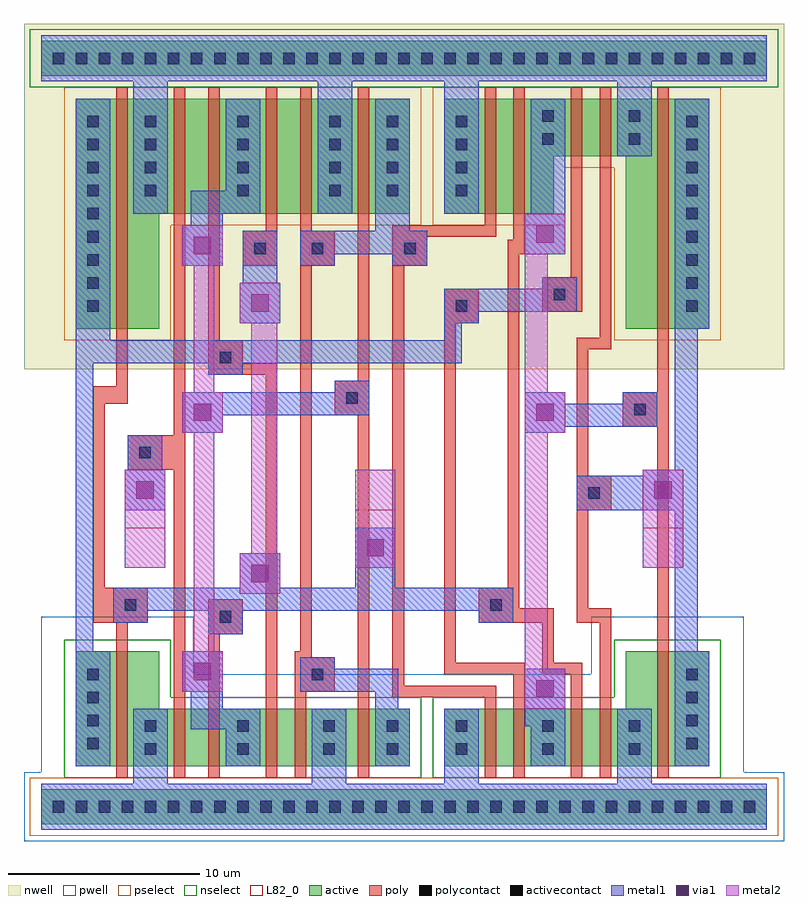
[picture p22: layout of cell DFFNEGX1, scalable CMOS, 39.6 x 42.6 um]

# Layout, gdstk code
import gdstk
lib = gdstk.Library(unit=1e-6, precision=1e-09)
def R(c, l, rs):  # rectangles x0, y0, x1, y1
    for r in rs: c.add(gdstk.rectangle(r[:2], r[2:], *l))
def A(c, l, x, y, w, h, nx, ny, dx, dy):  # array of equal rectangles
    R(c, l, [(x+i*dx, y+j*dy, x+i*dx+w, y+j*dy+h) for i in range(nx) for j in range(ny)])
pwell = (41, 0)
nwell = (42, 0)
active = (43, 0)
pselect = (44, 0)
nselect = (45, 0)
poly = (46, 0)
polycontact = (47, 0)
activecontact = (48, 0)
metal1 = (49, 0)
via1 = (50, 0)
metal2 = (51, 0)
L82_0 = (82, 0)

dffnegx1 = lib.new_cell('DFFNEGX1')
R(dffnegx1, pwell, [(-1.8,-1.8,37.8,1.8), (-0.9,1.8,35.7,6.9), (-0.9,6.9,7.05,9.9), (27.75,6.9,35.7,9.9)])
R(dffnegx1, nwell, [(-1.8,22.8,37.8,40.8)])
R(dffnegx1, active, [(-0.9,-0.9,36.9,0.9), (0.9,2.1,18.3,5.1), (20.1,2.1,33.9,5.1), (0.9,5.1,5.25,8.1), (29.55,5.1,33.9,8.1), (0.9,24.9,5.25,30.9), (29.55,24.9,33.9,33.9), (0.9,30.9,18.3,36.9), (20.1,30.9,25.8,33.9), (20.1,33.9,33.9,36.9), (-0.9,38.1,36.9,39.9)])
R(dffnegx1, pselect, [(-1.5,-1.5,37.5,1.5), (0.3,24.3,5.85,30.3), (28.95,24.3,34.5,33.3), (0.3,30.3,18.9,37.5), (19.5,30.3,26.4,33.3), (19.5,33.3,34.5,37.5)])
R(dffnegx1, nselect, [(0.3,1.5,18.9,5.7), (19.5,1.5,34.5,5.7), (0.3,5.7,5.85,8.7), (28.95,5.7,34.5,8.7), (-1.5,37.5,37.5,40.5)])
R(dffnegx1, poly, [(3,1.5,3.6,9.6), (6,1.5,6.6,17.55), (7.8,1.5,8.4,9), (10.8,1.5,11.4,22.5), (12.3,1.5,12.9,6), (15.6,1.5,16.2,20.4), (22.2,1.5,22.8,5.7), (23.7,1.5,24.3,6.9), (26.7,1.5,27.3,6.9), (28.2,1.5,28.8,9.6), (31.2,1.5,31.8,19.8), (17.4,5.7,22.8,6.3), (12.3,6,14.4,7.8), (17.4,6.3,18,28.2), (20.1,6.9,24.3,7.5), (25.2,6.9,27.3,7.5), (20.1,7.5,20.7,25.2), (25.2,7.5,25.8,9.6), (12.3,7.8,13.2,8.1), (12.6,8.1,13.2,28.2), (7.8,9,9.6,10.8), (1.8,9.6,4.65,11.4), (21.9,9.6,25.8,10.35), (27,9.6,28.8,10.35), (21.9,10.35,24,11.4), (27,10.35,27.6,15.45), (1.8,11.4,2.4,21), (23.4,11.4,24,28.8), (27,15.45,28.8,17.25), (27,17.25,27.6,23.85), (3.6,17.55,6.6,19.35), (6,19.35,6.6,37.5), (29.4,19.8,31.8,21.6), (14.4,20.4,16.2,22.2), (1.8,21,3.6,21.9), (31.2,21.6,31.8,37.5), (3,21.9,3.6,37.5), (15.6,22.2,16.2,37.5), (7.8,22.5,11.4,23.1), (7.8,23.1,9.6,24.3), (27,23.85,28.8,24.45), (7.8,24.3,8.4,37.5), (28.2,24.45,28.8,37.5), (20.1,25.2,21.9,27), (25.2,25.8,27.3,27.6), (26.7,27.6,27.3,37.5), (9.6,28.2,11.4,30), (12.6,28.2,14.4,30), (17.4,28.2,19.2,29.7), (23.4,28.8,24.3,29.55), (23.7,29.55,24.3,37.5), (17.4,29.7,22.8,30.3), (10.8,30,11.4,37.5), (12.6,30,13.2,37.5), (22.2,30.3,22.8,37.5)])
R(dffnegx1, polycontact, [(13.2,6.6,13.8,7.2), (8.4,9.6,9,10.2), (3.45,10.2,4.05,10.8), (22.5,10.2,23.1,10.8), (27.6,16.05,28.2,16.65), (4.2,18.15,4.8,18.75), (30,20.4,30.6,21), (15,21,15.6,21.6), (8.4,23.1,9,23.7), (20.7,25.8,21.3,26.4), (25.8,26.4,26.4,27), (10.2,28.8,10.8,29.4), (13.2,28.8,13.8,29.4), (18,28.8,18.6,29.4)])
A(dffnegx1, activecontact, -0.3, -0.3, 0.6, 0.6, 31, 2, 1.2, 39)
A(dffnegx1, activecontact, 20.7, 2.7, 0.6, 0.6, 3, 2, 4.5, 1.2)
A(dffnegx1, activecontact, 1.5, 3, 0.6, 0.6, 1, 4, 0, 1.2)
A(dffnegx1, activecontact, 32.7, 3, 0.6, 0.6, 1, 4, 0, 1.2)
A(dffnegx1, activecontact, 1.5, 25.8, 0.6, 0.6, 1, 9, 0, 1.2)
A(dffnegx1, activecontact, 32.7, 25.8, 0.6, 0.6, 1, 9, 0, 1.2)
A(dffnegx1, activecontact, 4.5, 31.8, 0.6, 0.6, 3, 4, 4.8, 1.2)
A(dffnegx1, activecontact, 17.1, 31.8, 0.6, 0.6, 1, 4, 0, 1.2)
A(dffnegx1, activecontact, 20.7, 31.8, 0.6, 0.6, 1, 4, 0, 1.2)
R(dffnegx1, activecontact, [(4.5,2.7,5.1,3.3), (9.3,2.7,9.9,3.3), (13.8,2.7,14.4,3.3), (17.1,2.7,17.7,3.3), (4.5,3.9,5.1,4.5), (9.3,3.9,9.9,4.5), (13.8,3.9,14.4,4.5), (17.1,3.9,17.7,4.5), (25.2,34.5,25.8,35.1), (29.7,34.5,30.3,35.1), (25.2,35.7,25.8,36.3), (29.7,35.7,30.3,36.3)])
R(dffnegx1, metal1, [(-0.9,-1.2,36.9,1.2), (3.9,1.2,5.7,5.1), (13.2,1.2,15,5.1), (20.1,1.2,21.9,5.1), (29.1,1.2,30.9,5.1), (0.9,2.1,2.7,8.1), (8.7,2.1,10.5,4.05), (16.5,2.1,18.3,5.1), (24.6,2.1,26.4,4.2), (32.1,2.1,33.9,8.1), (6.9,4.05,10.5,5.1), (24.3,4.2,26.4,7.2), (6.9,5.1,8.55,6), (16.5,5.1,17.7,6), (6.45,6,8.55,8.1), (12.6,6,17.7,7.2), (12.6,7.2,14.4,7.8), (0.9,8.1,1.8,23.1), (32.1,8.1,33.3,15.45), (7.8,9,9.6,10.2), (2.85,9.6,4.65,10.2), (21.9,9.6,23.7,10.2), (2.85,10.2,23.7,11.4), (9.45,11.4,11.55,13.2), (15.45,11.4,17.55,14.55), (3.45,15.45,5.55,17.55), (27,15.45,33.3,17.25), (30.45,17.25,33.3,17.55), (3.6,17.55,5.4,19.35), (32.1,17.55,33.3,24.9), (6.45,19.5,8.55,20.4), (24.3,19.5,26.4,19.8), (24.3,19.8,31.2,21), (6.45,20.4,16.2,21.6), (24.3,21,26.4,21.6), (29.4,21,31.2,21.6), (14.4,21.6,16.2,22.2), (7.8,22.5,9.6,23.1), (0.9,23.1,21,24.3), (0.9,24.3,2.7,36.9), (20.1,24.3,21,25.2), (32.1,24.9,33.9,36.9), (9.45,25.2,11.55,27.3), (20.1,25.2,21.9,25.8), (20.1,25.8,27,27), (25.2,27,27,27.6), (9.6,27.3,11.4,30), (6.45,28.2,8.55,30.3), (12.6,28.2,14.4,28.8), (17.4,28.2,19.2,28.8), (12.6,28.8,19.2,30), (24.3,28.8,26.4,30.9), (16.5,30,18.3,36.9), (6.9,30.3,8.55,30.9), (3.9,30.9,5.7,37.8), (6.9,30.9,10.5,32.1), (13.5,30.9,15.3,37.8), (20.1,30.9,21.9,37.8), (24.6,30.9,26.4,36.9), (8.7,32.1,10.5,36.9), (29.1,33.9,30.9,37.8), (-0.9,37.8,36.9,40.2)])
R(dffnegx1, via1, [(24.9,5.7,25.8,6.6), (7.05,6.6,7.95,7.5), (10.05,11.7,10.95,12.6), (16.05,13.05,16.95,13.95), (4.05,16.05,4.95,16.95), (31.05,16.05,31.95,16.95), (7.05,20.1,7.95,21), (24.9,20.1,25.8,21), (10.05,25.8,10.95,26.7), (7.05,28.8,7.95,29.7), (24.9,29.4,25.8,30.3)])
R(dffnegx1, metal2, [(24.3,5.1,26.4,7.2), (6.45,6,8.55,8.1), (24.3,7.2,25.5,19.5), (7.05,8.1,8.1,19.5), (9.45,11.1,11.55,13.2), (3.45,12.45,5.55,17.55), (15.45,12.45,17.55,17.55), (30.45,12.45,32.55,17.55), (10.05,13.2,11.4,25.2), (6.45,19.5,8.55,21.6), (24.3,19.5,26.4,21.6), (7.05,21.6,8.1,28.2), (24.3,21.6,25.5,28.8), (9.45,25.2,11.55,27.3), (6.45,28.2,8.55,30.3), (24.3,28.8,26.4,30.9)])
R(dffnegx1, L82_0, [(3.45,12.45,5.55,14.55), (30.45,12.45,32.55,14.55), (15.45,15.45,17.55,17.55)])

lib.write_gds('DFFNEGX1.gds')
